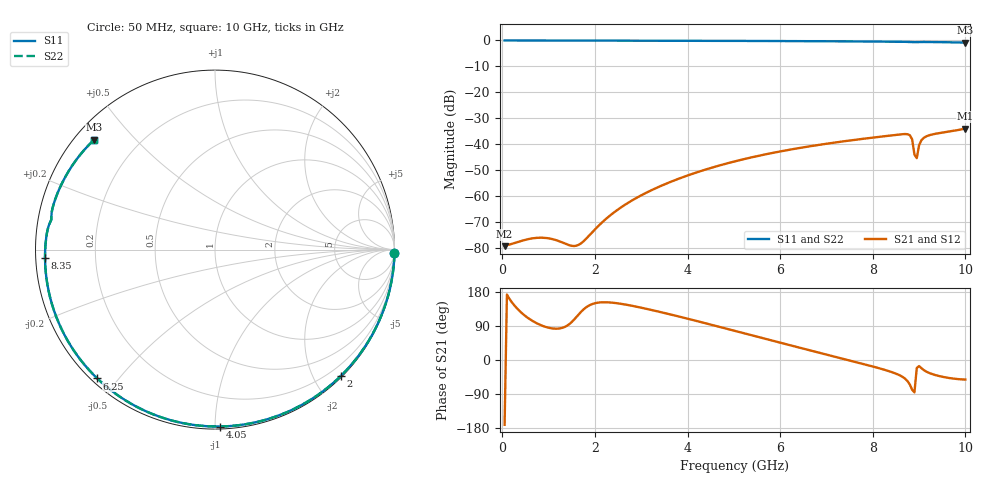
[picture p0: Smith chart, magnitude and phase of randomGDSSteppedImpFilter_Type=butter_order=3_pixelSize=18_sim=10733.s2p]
! freq	dB(S11)	phase(S11)	dB(S12)	phase(S12)
!  dB(S21)	phase(S21)	dB(S22)	phase(S22)
!S-par simulation data
#  GHz  S  DB  R 50
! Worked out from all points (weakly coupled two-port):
!   200 points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, 50 MHz to 10 GHz, reference 50 ohm
!   highest |S21| = -34.00 dB at 10 GHz (marker M1); lowest = -79.4 dB at 50 MHz (marker M2)
!   lowest |S11| = -0.8 dB at 10 GHz (marker M3), VSWR 21.19, Z = 2.71 + j19.3 ohm
!   |S11| at or under -10 dB: nowhere
!   |S22| runs from -0.8 to 0.0 dB; largest |S21 - S12| = 0
!   S11 on the Smith chart (normalised r, x): 50 MHz: open; 2 GHz: 0.02, -2.41; 4.05 GHz: 0.01, -1.03; 6.25 GHz: 0.02, -0.44; 8.35 GHz: 0.03, -0.02; 10 GHz: 0.05, +0.39
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0.05  -0.00 -1.2  -79.41 -171.1  -79.41 -171.1  -0.00 -1.2
0.75  -0.02 -17.2  -76.19 96.6  -76.19 96.6  -0.02 -17.2
1.05  -0.03 -24.0  -76.55 83.9  -76.55 83.9  -0.03 -24.0
1.55  -0.04 -35.2  -79.36 106.5  -79.36 106.5  -0.04 -35.2
1.75  -0.05 -39.6  -77.59 133.0  -77.59 133.0  -0.05 -39.7
2  -0.06 -45.1  -72.97 149.7  -72.97 149.7  -0.06 -45.2
2.6  -0.07 -58.2  -64.00 147.6  -64.00 147.6  -0.07 -58.2
3.4  -0.10 -75.1  -56.35 127.0  -56.35 127.0  -0.10 -75.1
4.05  -0.12 -88.4  -51.82 107.5  -51.82 107.5  -0.12 -88.5
5.05  -0.17 -108.5  -46.54 76.0  -46.54 76.0  -0.17 -108.5
6.25  -0.24 -132.4  -42.03 37.9  -42.03 37.9  -0.24 -132.4
6.7  -0.28 -141.5  -40.69 23.8  -40.69 23.8  -0.28 -141.5
7.55  -0.36 -159.2  -38.51 -2.6  -38.51 -2.6  -0.36 -159.2
8.35  -0.46 -177.1  -36.77 -29.5  -36.77 -29.5  -0.46 -177.1
8.8  -0.58 171.7  -36.59 -64.7  -36.59 -64.7  -0.58 171.8
8.85  -0.62 170.5  -38.18 -78.5  -38.18 -78.5  -0.62 170.6
8.9  -0.66 169.6  -44.06 -85.4  -44.06 -85.4  -0.66 169.7
8.95  -0.63 168.6  -45.44 -21.0  -45.44 -21.0  -0.63 168.7
9  -0.60 167.4  -40.45 -16.0  -40.45 -16.0  -0.60 167.5
9.1  -0.59 164.6  -37.61 -26.4  -37.61 -26.4  -0.59 164.8
9.55  -0.68 151.9  -35.43 -45.4  -35.43 -45.4  -0.67 152.1
10  -0.82 137.7  -34.00 -51.6  -34.00 -51.6  -0.82 137.9
